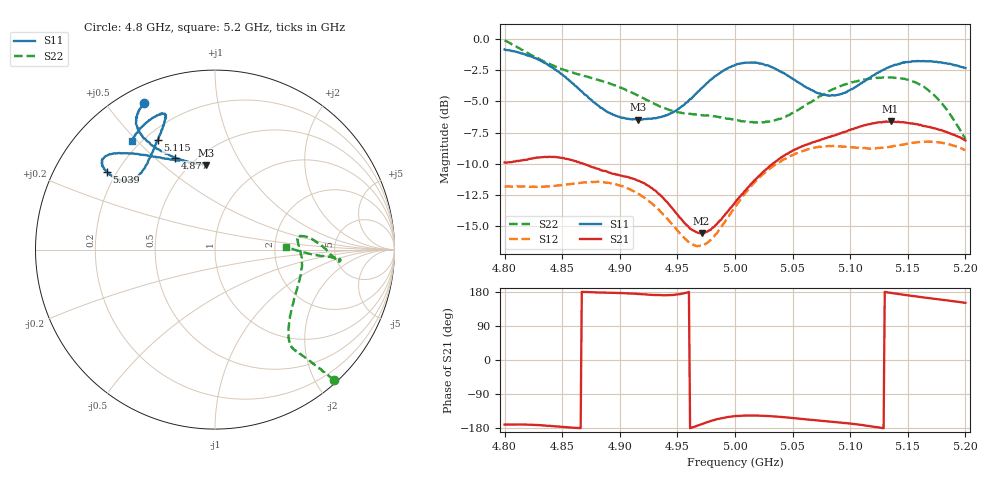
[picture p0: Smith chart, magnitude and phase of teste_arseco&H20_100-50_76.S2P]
! Network Analyzer HP8722D
! Hewlett-Packard
! Data name: Linha & Wilkinson
! Saver's name: Rodrigo Anjos
! Comments: Teste da utilização de aquisição
! continua pelo VNA HP8722D
! Time and date: 6/5/2025 13:12
!  Frequency  S11  S21  S12  S22
# HZ  S  MA R 50
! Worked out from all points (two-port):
!   401 points, 4.8 GHz to 5.2 GHz, reference 50 ohm
!   highest |S21| = -6.61 dB at 5.135 GHz (marker M1); lowest = -15.6 dB at 4.971 GHz (marker M2)
!   |S21| within 3 dB of the highest: 4.821 GHz to 4.854 GHz (33.34 MHz wide, 0.689 % of centre); 5.038 GHz to end of sweep
!   lowest |S11| = -6.5 dB at 4.916 GHz (marker M3), VSWR 2.81, Z = 29.2 + j35.6 ohm
!   |S11| at or under -10 dB: nowhere
!   |S22| runs from -8.0 to -0.1 dB; largest |S21 - S12| = 0.83
!   S11 on the Smith chart (normalised r, x): 4.8 GHz: 0.07, +0.62; 4.877 GHz: 0.39, +0.58; 5.039 GHz: 0.16, +0.31; 5.115 GHz: 0.25, +0.58; 5.2 GHz: 0.17, +0.48
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4.8e9  0.906 115.9  0.3202 -170.5  0.2568 -86.1  0.9846 -47.5
4.819e9  0.8612 120.3  0.3279 -170.5  0.2556 -81.8  0.8833 -48.7
4.835e9  0.7992 122.5  0.3373 -172.9  0.2561 -76.5  0.8079 -49.8
4.867e9  0.6154 118.0  0.3182 179.8  0.2657 -67.4  0.7155 -51.5
4.877e9  0.559 113.5  0.3057 178.6  0.2676 -66.2  0.6944 -51.9
4.901e9  0.4848 100.9  0.2836 176.7  0.2577 -66.8  0.6381 -50.0
4.916e9  0.4749 96.1  0.2706 174.1  0.2399 -68.3  0.5927 -46.0
4.934e9  0.4849 99.0  0.2395 171.1  0.2073 -69.4  0.5385 -37.5
4.959e9  0.5596 116.3  0.1784 178.5  0.1548 -58.9  0.5011 -21.0
4.971e9  0.6346 124.6  0.1669 -169.4  0.1484 -45.4  0.495 -13.8
5e9  0.7851 137.3  0.2214 -148.4  0.2128 -21.5  0.4731 -0.3
5.018e9  0.8025 141.6  0.2742 -146.5  0.2697 -18.3  0.4631 5.8
5.039e9  0.7403 144.3  0.3319 -149.9  0.3216 -18.3  0.4777 8.9
5.067e9  0.6227 141.9  0.3849 -158.1  0.3651 -20.6  0.5618 4.7
5.088e9  0.5951 133.1  0.4134 -164.0  0.3718 -23.7  0.6364 -1.7
5.115e9  0.6893 117.6  0.4542 -173.6  0.3643 -26.7  0.6902 -5.4
5.134e9  0.7707 111.3  0.466 177.9  0.3694 -28.7  0.7005 -4.8
5.135e9  0.7753 111.0  0.467 177.4  0.3703 -28.7  0.7011 -4.7
5.148e9  0.8077 110.3  0.4626 171.6  0.3792 -31.3  0.6899 -4.1
5.164e9  0.8152 113.4  0.4481 165.0  0.3876 -36.0  0.6425 -3.6
5.182e9  0.7987 119.9  0.4264 158.0  0.3825 -41.5  0.5341 -2.7
5.2e9  0.7638 127.3  0.392 150.8  0.3586 -46.3  0.3964 2.5
